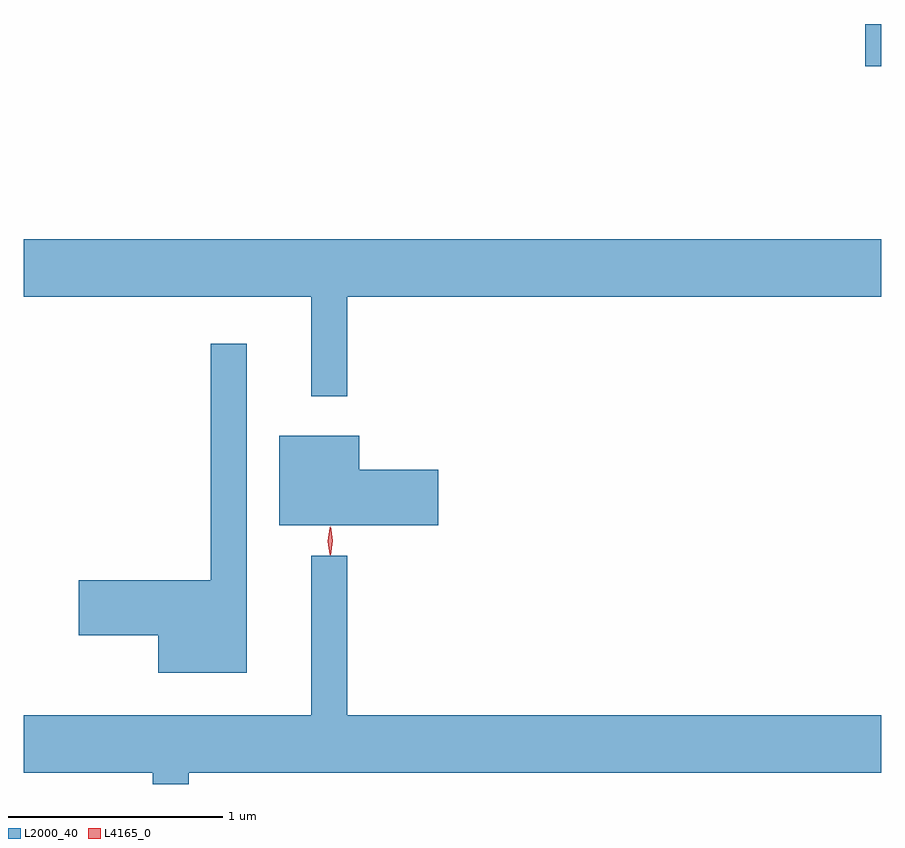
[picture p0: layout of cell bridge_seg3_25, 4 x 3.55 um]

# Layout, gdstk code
import gdstk
lib = gdstk.Library(unit=1e-6, precision=1e-09)
def R(c, l, rs):  # rectangles x0, y0, x1, y1
    for r in rs: c.add(gdstk.rectangle(r[:2], r[2:], *l))
def P(c, l, *ps):  # polygons
    for p in ps: c.add(gdstk.Polygon(p, *l))
L2000_40 = (2000, 40)
L4165_0 = (4165, 0)

bridge_seg3_25 = lib.new_cell('bridge_seg3_25')
R(bridge_seg3_25, L2000_40, [(1347.466,1184.811,1347.54,1185.009)])
P(bridge_seg3_25, L2000_40, [(1345.049,1183.736),(1347.54,1183.736),(1347.54,1184.004),(1343.54,1184.004),(1343.54,1183.736),(1344.881,1183.736),(1344.881,1183.273),(1345.049,1183.273)],
  [(1344.579,1183.518),(1344.411,1183.518),(1344.411,1182.414),(1343.796,1182.414),(1343.796,1182.156),(1344.166,1182.156),(1344.166,1181.981),(1344.579,1181.981)],
  [(1345.474,1182.929),(1345.104,1182.929),(1345.104,1183.089),(1344.731,1183.089),(1344.731,1182.671),(1345.474,1182.671)],
  [(1344.309,1181.516),(1347.54,1181.516),(1347.54,1181.784),(1345.049,1181.784),(1345.049,1182.528),(1344.881,1182.528),(1344.881,1181.784),(1343.54,1181.784),(1343.54,1181.516),(1344.141,1181.516),(1344.141,1181.463),(1344.309,1181.463)])
P(bridge_seg3_25, L4165_0, [(1344.971,1182.53),(1344.962,1182.598),(1344.971,1182.666),(1344.972,1182.666),(1344.972,1182.666),(1344.982,1182.598),(1344.972,1182.53),(1344.972,1182.53)],
  [(1344.968,1182.533),(1344.968,1182.533),(1344.958,1182.596),(1344.968,1182.659),(1344.968,1182.66),(1344.969,1182.659),(1344.978,1182.596),(1344.969,1182.533)])

lib.write_gds('bridge_seg3_25.gds')
